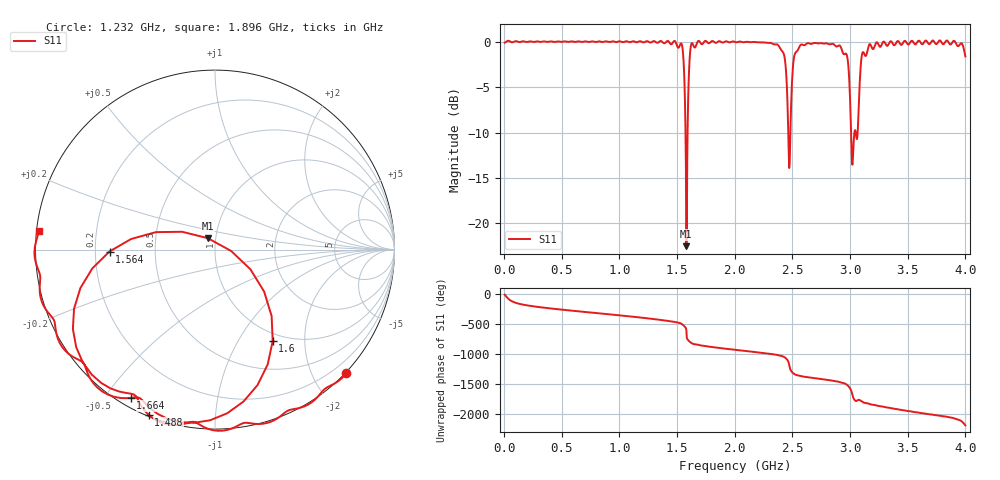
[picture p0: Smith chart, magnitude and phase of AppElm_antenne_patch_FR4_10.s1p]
! TOUCHSTONE file generated by CST MICROWAVE STUDIO
! Date and time: Tue Jun 14 12:12:51 2022
! Project name: AppElm_antenne_patch_FR4.cst
! Parameters = {L=45; W=58.5; e=0.035; h=1.6; lambda=0.190476; ls=120; w0=3.048; w1=0.847; ws=120; y0=18; y1=23.8}
! Header version: 2018
! Port assignment regex: !\s*Touchstone port\s*([0-9]+)\s*=\s*(CST MWS port|CST DS port)\s*([0-9]+|Zmin|Zmax)\s*\(\"(.*)\"\)(\s*mode\s*([0-9]+))?.*
! Touchstone port assignment:
! Touchstone port 1 = CST MWS port 1 ("")
# GHz S MA R 50
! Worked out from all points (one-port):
!   1000 points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, 4 MHz to 4 GHz, reference 50 ohm
!   lowest |S11| = -22.5 dB at 1.58 GHz (marker M1), VSWR 1.16, Z = 45.8 + j5.86 ohm
!   |S11| at or under -10 dB: 1.573 GHz to 1.591 GHz (18.24 MHz wide, 1.15 % of centre); 2.464 GHz to 2.482 GHz (18.27 MHz wide, 0.739 % of centre); 3.009 GHz to 3.038 GHz (29.4 MHz wide, 0.973 % of centre)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
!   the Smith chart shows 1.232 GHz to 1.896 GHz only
!   S11 on the Smith chart (normalised r, x): 1.232 GHz: -0.02, -2.52; 1.488 GHz: 0.01, -0.68; 1.564 GHz: 0.26, -0.01; 1.6 GHz: 0.89, -1.41; 1.664 GHz: 0.03, -0.58; 1.896 GHz: 0.01, +0.05
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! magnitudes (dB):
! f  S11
! 4 MHz  -0.1
! 504 MHz  0.0
! 1.004 GHz  0.0
! 1.232 GHz  0.0
! 1.488 GHz  -0.1
! 1.504 GHz  -0.6
! 1.544 GHz  -0.5
! 1.564 GHz  -4.6
! 1.58 GHz  -22.5
! 1.6 GHz  -4.4
! 1.608 GHz  -2.0
! 1.62 GHz  -0.4
! 1.664 GHz  -0.4
! 1.896 GHz  -0.1
! 2.004 GHz  0.0
! 2.4 GHz  -0.9
! 2.432 GHz  -1.7
! 2.472 GHz  -13.9
! 2.504 GHz  -2.8
! 2.576 GHz  -0.3
! 2.908 GHz  -0.4
! 2.972 GHz  -1.5
! 3.004 GHz  -7.9
! 3.036 GHz  -10.2
! 3.104 GHz  -1.4
! 3.168 GHz  -0.3
! 3.504 GHz  -0.3
! 4 GHz  -1.6
